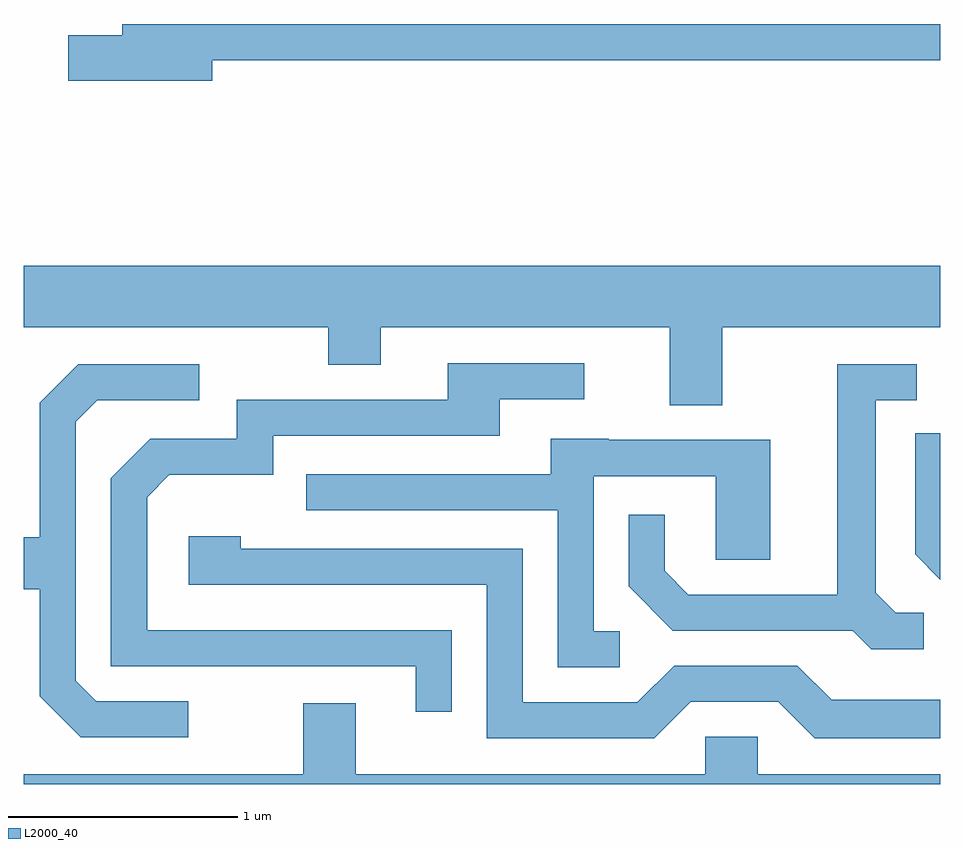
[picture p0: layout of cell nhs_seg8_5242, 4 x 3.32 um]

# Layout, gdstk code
import gdstk
lib = gdstk.Library(unit=1e-6, precision=1e-09)
def P(c, l, *ps):  # polygons
    for p in ps: c.add(gdstk.Polygon(p, *l))
L2000_40 = (2000, 40)

nhs_seg8_5242 = lib.new_cell('nhs_seg8_5242')
P(nhs_seg8_5242, L2000_40, [(342.434,1917.501),(345.611,1917.501),(345.611,1917.659),(342.041,1917.659),(342.041,1917.609),(341.806,1917.609),(341.806,1917.411),(342.434,1917.411)],
  [(344.659,1916.336),(345.611,1916.336),(345.611,1916.604),(341.611,1916.604),(341.611,1916.336),(342.941,1916.336),(342.941,1916.171),(343.169,1916.171),(343.169,1916.336),(344.431,1916.336),(344.431,1915.996),(344.659,1915.996)],
  [(343.479,1915.014),(342.149,1915.014),(342.149,1915.594),(342.247,1915.691),(342.699,1915.691),(342.699,1915.861),(343.689,1915.861),(343.689,1916.021),(344.058,1916.021),(344.058,1916.179),(343.461,1916.179),(343.461,1916.019),(342.541,1916.019),(342.541,1915.849),(342.164,1915.849),(341.991,1915.677),(341.991,1914.856),(343.321,1914.856),(343.321,1914.658),(343.479,1914.658)],
  [(345.538,1915.089),(345.417,1915.089),(345.329,1915.177),(345.329,1916.016),(345.508,1916.016),(345.508,1916.174),(345.161,1916.174),(345.161,1915.169),(344.512,1915.169),(344.409,1915.272),(344.409,1915.518),(344.251,1915.518),(344.251,1915.204),(344.444,1915.011),(345.229,1915.011),(345.309,1914.931),(345.538,1914.931)],
  [(342.328,1914.704),(341.927,1914.704),(341.839,1914.792),(341.839,1915.924),(341.932,1916.016),(342.378,1916.016),(342.378,1916.174),(341.849,1916.174),(341.681,1916.007),(341.681,1915.419),(341.611,1915.419),(341.611,1915.191),(341.681,1915.191),(341.681,1914.724),(341.859,1914.546),(342.328,1914.546)],
  [(345.611,1915.873),(345.501,1915.873),(345.501,1915.344),(345.611,1915.234)],
  [(344.213,1915.009),(344.099,1915.009),(344.099,1915.686),(344.631,1915.686),(344.631,1915.321),(344.869,1915.321),(344.869,1915.844),(344.165,1915.844),(344.165,1915.849),(343.911,1915.849),(343.911,1915.694),(342.843,1915.694),(342.843,1915.536),(343.941,1915.536),(343.941,1914.851),(344.213,1914.851)],
  [(344.522,1914.701),(344.904,1914.701),(345.064,1914.541),(345.611,1914.541),(345.611,1914.709),(345.137,1914.709),(344.987,1914.859),(344.449,1914.859),(344.289,1914.699),(343.789,1914.699),(343.789,1915.369),(342.559,1915.369),(342.559,1915.424),(342.331,1915.424),(342.331,1915.211),(343.631,1915.211),(343.631,1914.541),(344.362,1914.541)],
  [(345.611,1914.384),(344.814,1914.384),(344.814,1914.549),(344.586,1914.549),(344.586,1914.384),(343.059,1914.384),(343.059,1914.694),(342.831,1914.694),(342.831,1914.384),(341.611,1914.384),(341.611,1914.342),(345.611,1914.342)])

lib.write_gds('nhs_seg8_5242.gds')
